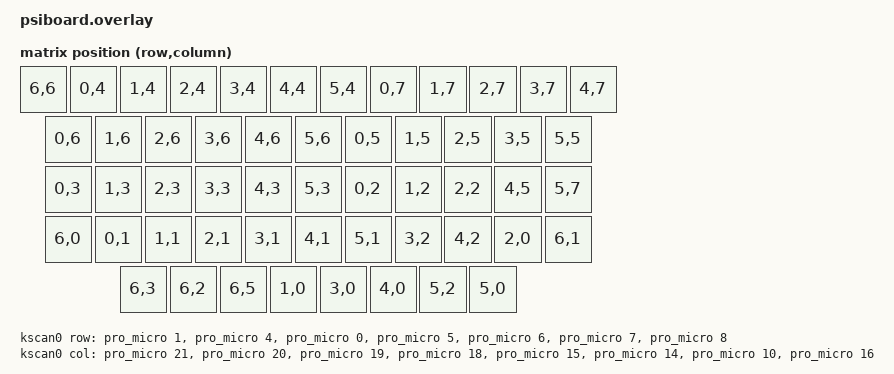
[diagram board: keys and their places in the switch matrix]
#include <dt-bindings/zmk/matrix_transform.h>

/ {
    chosen {
        zmk,kscan = &kscan0;
        zmk,matrix_transform = &default_transform;
    };

    keys {
        compatible = "gpio-keys";
        soft_off_gpio_key: soft_off_gpio_key {
            gpios = <&pro_micro 8 (GPIO_ACTIVE_LOW | GPIO_PULL_UP)>;
        };
    };

    soft_off_wakers {
        compatible = "zmk,soft-off-wakeup-sources";
        wakeup-sources = <&wakeup_scan>;
    };

    wakeup_scan: wakeup_scan {
        compatible = "zmk,gpio-key-wakeup-trigger";
        trigger = <&soft_off_gpio_key>;
        wakeup-source;
        extra-gpios = <&pro_micro 16 GPIO_ACTIVE_LOW>;
    };

    kscan0: kscan_0 {
        compatible = "zmk,kscan-gpio-matrix";
        label = "KSCAN";
        diode-direction = "col2row";
        debounce-press-ms = <10>;
        debounce-release-ms = <10>;

        col-gpios
            = <&pro_micro 21 GPIO_ACTIVE_LOW>  // COL0 (PM 21 -> KBD 20)
            , <&pro_micro 20 GPIO_ACTIVE_LOW>  // COL1 (PM 20 -> KBD 19)
            , <&pro_micro 19 GPIO_ACTIVE_LOW>  // COL2 (PM 19 -> KBD 18)
            , <&pro_micro 18 GPIO_ACTIVE_LOW>  // COL3 (PM 18 -> KBD 17)
            , <&pro_micro 15 GPIO_ACTIVE_LOW>  // COL4 (PM 15 -> KBD 16)
            , <&pro_micro 14 GPIO_ACTIVE_LOW>  // COL5 (PM 14 -> KBD 14)
            , <&pro_micro 10 GPIO_ACTIVE_LOW>  // COL7 (PM 10 -> KBD 12)
            , <&pro_micro 16 GPIO_ACTIVE_LOW>  // COL6 (PM 16 -> KBD 13)
            ;

        row-gpios
            = <&pro_micro 1 (GPIO_ACTIVE_LOW | GPIO_PULL_UP)>  // ROW0 (PM 1 -> KBD 15)
            , <&pro_micro 4 (GPIO_ACTIVE_LOW | GPIO_PULL_UP)>  // ROW2 (PM 4 -> KBD 10)
            , <&pro_micro 0 (GPIO_ACTIVE_LOW | GPIO_PULL_UP)>  // ROW1 (PM 0 -> KBD 11)
            , <&pro_micro 5 (GPIO_ACTIVE_LOW | GPIO_PULL_UP)>  // ROW3 (PM 5 -> KBD 9)
            , <&pro_micro 6 (GPIO_ACTIVE_LOW | GPIO_PULL_UP)>  // ROW4 (PM 6 -> KBD 8)
            , <&pro_micro 7 (GPIO_ACTIVE_LOW | GPIO_PULL_UP)>  // ROW5 (PM 7 -> KBD 7)
            , <&pro_micro 8 (GPIO_ACTIVE_LOW | GPIO_PULL_UP)>  // ROW6 (PM 8 -> KBD 1-6)
            ;
    };

    default_transform: matrix_transform {
        compatible = "zmk,matrix-transform";
        columns = <12>;
        rows = <5>;
        // ┌─────┬─────┬─────┬─────┬─────┬─────┬─────┬─────┬─────┬─────┬─────┬─────┐
        // │ Esc │  1  │  2  │  3  │  4  │  5  │  6  │  7  │  8  │  9  │  0  │ Del │
        // └──┬──┴──┬──┴──┬──┴──┬──┴──┬──┴──┬──┴──┬──┴──┬──┴──┬──┴──┬──┴──┬──┴─────┤
        //    │  Q  │  W  │  E  │  R  │  T  │  Y  │  U  │  I  │  O  │  P  │   Ent  │
        // ┌──┴──┬──┴──┬──┴──┬──┴──┬──┴──┬──┴──┬──┴──┬──┴──┬──┴──┬──┴──┬──┴──┐     │
        // │ Tab │  A  │  S  │  D  │  F  │  G  │  H  │  J  │  K  │  L  │ ' ~ │     │
        // └──┬──┴──┬──┴──┬──┴──┬──┴──┬──┴──┬──┴──┬──┴──┬──┴──┬──┴──┬──┴──┬──┴──┬──┘
        //    │ Sft │  Z  │  X  │  C  │  V  │  B  │  N  │  M  │ . ? │ Up  │ Sft │
        //    ├─────┼─────┼─────┼─────┴─────┴─────┴─────┼─────┼─────┼─────┼─────┤
        //    │ Ctl │ Fn  │ Mnu │         Space         │ , / │ Lft │ Dwn │ Rgt │
        //    └─────┴─────┴─────┴───────────────────────┴─────┴─────┴─────┴─────┘
        map = <

        // Esc      1        2        3        4        5        6        7        8        9        0        Del
           RC(6,6)  RC(0,4)  RC(1,4)  RC(2,4)  RC(3,4)  RC(4,4)  RC(5,4)  RC(0,7)  RC(1,7)  RC(2,7)  RC(3,7)  RC(4,7)

        //     Q        W        E        R        T        Y        U        I        O        P        Ent
               RC(0,6)  RC(1,6)  RC(2,6)  RC(3,6)  RC(4,6)  RC(5,6)  RC(0,5)  RC(1,5)  RC(2,5)  RC(3,5)  RC(5,5)

        // Tab      A        S        D        F        G        H        J        K        L        ' ~
           RC(0,3)  RC(1,3)  RC(2,3)  RC(3,3)  RC(4,3)  RC(5,3)  RC(0,2)  RC(1,2)  RC(2,2)  RC(4,5)  RC(5,7)

        //     L. Sft   Z        X        C        V        B        N        M        ?        Up       R. Sft
               RC(6,0)  RC(0,1)  RC(1,1)  RC(2,1)  RC(3,1)  RC(4,1)  RC(5,1)  RC(3,2)  RC(4,2)  RC(2,0)  RC(6,1)

        //     L. Ctl   Fn       Mnu                    Space                 , /      Lft      Dwn      Rgt
               RC(6,3)  RC(6,2)  RC(6,5)                RC(1,0)               RC(3,0)  RC(4,0)  RC(5,2)  RC(5,0)
      >;
    };

};
